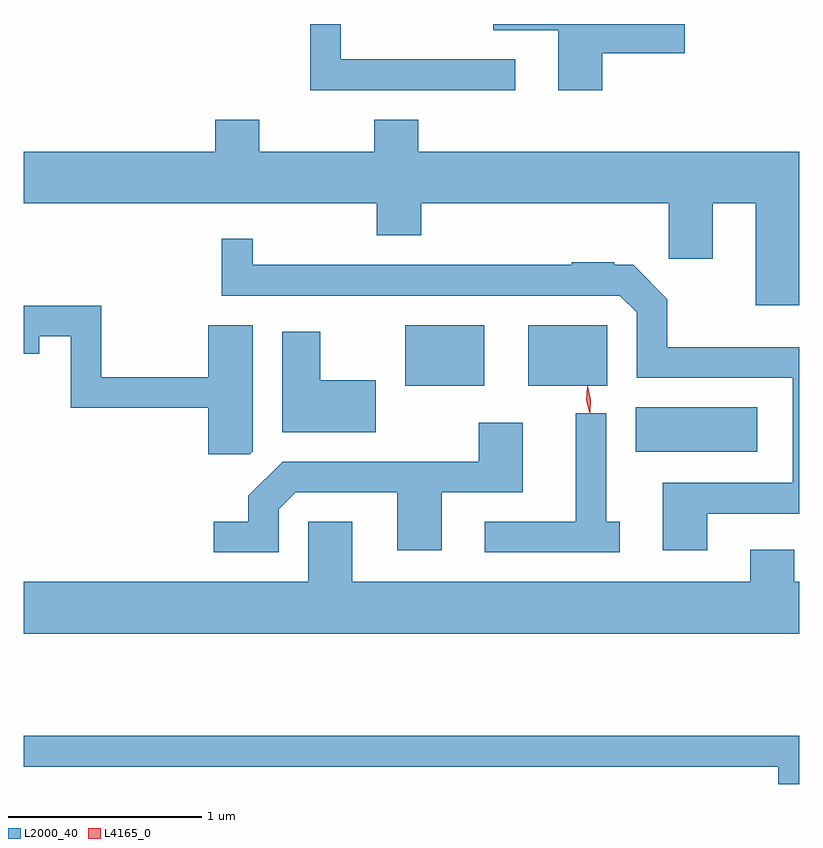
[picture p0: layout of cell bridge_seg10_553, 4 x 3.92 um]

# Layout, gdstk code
import gdstk
lib = gdstk.Library(unit=1e-6, precision=1e-09)
def R(c, l, rs):  # rectangles x0, y0, x1, y1
    for r in rs: c.add(gdstk.rectangle(r[:2], r[2:], *l))
def P(c, l, *ps):  # polygons
    for p in ps: c.add(gdstk.Polygon(p, *l))
L2000_40 = (2000, 40)
L4165_0 = (4165, 0)

bridge_seg10_553 = lib.new_cell('bridge_seg10_553')
R(bridge_seg10_553, L2000_40, [(805.051,2152.596,805.679,2152.824), (803.861,2152.936,804.269,2153.249), (804.496,2152.936,804.904,2153.249)])
P(bridge_seg10_553, L2000_40, [(804.428,2154.619),(803.529,2154.619),(803.529,2154.802),(803.371,2154.802),(803.371,2154.461),(804.428,2154.461)],
  [(804.879,2154.651),(805.304,2154.651),(805.304,2154.802),(804.316,2154.802),(804.316,2154.771),(804.651,2154.771),(804.651,2154.461),(804.879,2154.461)],
  [(805.894,2154.144),(803.929,2154.144),(803.929,2154.309),(803.701,2154.309),(803.701,2154.144),(803.109,2154.144),(803.109,2154.309),(802.881,2154.309),(802.881,2154.144),(801.894,2154.144),(801.894,2153.876),(803.716,2153.876),(803.716,2153.711),(803.944,2153.711),(803.944,2153.876),(805.221,2153.876),(805.221,2153.591),(805.449,2153.591),(805.449,2153.876),(805.671,2153.876),(805.671,2153.351),(805.894,2153.351)],
  [(805.419,2152.276),(805.894,2152.276),(805.894,2153.134),(805.214,2153.134),(805.214,2153.382),(805.037,2153.559),(804.94,2153.559),(804.94,2153.574),(804.72,2153.574),(804.72,2153.559),(803.074,2153.559),(803.074,2153.693),(802.916,2153.693),(802.916,2153.401),(804.969,2153.401),(805.056,2153.314),(805.056,2152.976),(805.861,2152.976),(805.861,2152.434),(805.191,2152.434),(805.191,2152.086),(805.419,2152.086)],
  [(803.074,2152.597),(803.074,2153.249),(802.846,2153.249),(802.846,2152.979),(802.294,2152.979),(802.294,2153.349),(801.894,2153.349),(801.894,2153.101),(801.974,2153.101),(801.974,2153.191),(802.136,2153.191),(802.136,2152.821),(802.846,2152.821),(802.846,2152.581),(803.059,2152.581)],
  [(803.709,2152.964),(803.424,2152.964),(803.424,2153.214),(803.226,2153.214),(803.226,2152.696),(803.709,2152.696)],
  [(804.968,2152.234),(804.899,2152.234),(804.899,2152.793),(804.741,2152.793),(804.741,2152.234),(804.273,2152.234),(804.273,2152.076),(804.968,2152.076)],
  [(803.209,2152.299),(803.297,2152.386),(803.821,2152.386),(803.821,2152.086),(804.049,2152.086),(804.049,2152.386),(804.469,2152.386),(804.469,2152.744),(804.241,2152.744),(804.241,2152.544),(803.229,2152.544),(803.051,2152.367),(803.051,2152.234),(802.873,2152.234),(802.873,2152.076),(803.209,2152.076)],
  [(805.894,2151.924),(805.869,2151.924),(805.869,2152.089),(805.641,2152.089),(805.641,2151.924),(803.589,2151.924),(803.589,2152.234),(803.361,2152.234),(803.361,2151.924),(801.894,2151.924),(801.894,2151.656),(805.894,2151.656)],
  [(805.894,2151.129),(801.894,2151.129),(801.894,2150.971),(805.786,2150.971),(805.786,2150.881),(805.894,2150.881)])
P(bridge_seg10_553, L4165_0, [(804.816,2152.794),(804.816,2152.795),(804.8,2152.863),(804.803,2152.932),(804.803,2152.933),(804.804,2152.932),(804.82,2152.864),(804.817,2152.795)],
  [(804.81,2152.798),(804.796,2152.863),(804.801,2152.93),(804.801,2152.93),(804.802,2152.93),(804.816,2152.864),(804.811,2152.798),(804.811,2152.798)])

lib.write_gds('bridge_seg10_553.gds')
